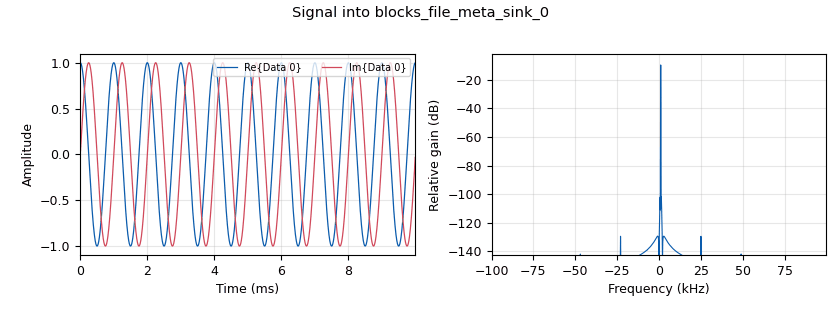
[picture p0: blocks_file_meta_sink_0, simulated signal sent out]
<?xml version='1.0' encoding='utf-8'?>
<?grc format='1' created='3.7.11'?>
<flow_graph>
<block>
<key>options</key>
<param><key>id</key><value>file_metadata_sink</value></param>
<param><key>category</key><value>Custom</value></param>
<param><key>generate_options</key><value>qt_gui</value></param>
</block>
<block>
<key>variable_qtgui_range</key>
<param><key>id</key><value>qt_samp_rate</value></param>
<param><key>value</key><value>samp_rate</value></param>
<param><key>orient</key><value>Qt.Horizontal</value></param>
<param><key>start</key><value>200000</value></param>
<param><key>step</key><value>200000</value></param>
<param><key>stop</key><value>5000000</value></param>
</block>
<block>
<key>variable</key>
<param><key>id</key><value>samp_rate</value></param>
<param><key>value</key><value>200000</value></param>
</block>
<block>
<key>analog_sig_source_x</key>
<param><key>id</key><value>analog_sig_source_x_0</value></param>
<param><key>amp</key><value>1</value></param>
<param><key>freq</key><value>1000</value></param>
<param><key>offset</key><value>0</value></param>
<param><key>type</key><value>complex</value></param>
<param><key>samp_rate</key><value>samp_rate</value></param>
<param><key>waveform</key><value>analog.GR_COS_WAVE</value></param>
</block>
<block>
<key>blocks_file_meta_sink</key>
<param><key>id</key><value>blocks_file_meta_sink_0</value></param>
<param><key>detached</key><value>True</value></param>
<param><key>extra_dict</key><value>""</value></param>
<param><key>file</key><value>C:\Users\Zyglabs\Dropbox\2017_05_Summer_Research\EARS\Refs\GnuRadio\Trials\Trail2_file_metadata_sink.out</value></param>
<param><key>type</key><value>complex</value></param>
<param><key>max_seg_size</key><value>1000000</value></param>
<param><key>rel_rate</key><value>1</value></param>
<param><key>samp_rate</key><value>samp_rate</value></param>
</block>
<block>
<key>blocks_head</key>
<param><key>id</key><value>blocks_head_0</value></param>
<param><key>num_items</key><value>20000000</value></param>
<param><key>type</key><value>complex</value></param>
</block>
<block>
<key>uhd_usrp_source</key>
<param><key>id</key><value>uhd_usrp_source_0</value></param>
<param><key>ant0</key><value></value></param>
<param><key>center_freq0</key><value>98.9e6</value></param>
<param><key>dc_offs_enb0</key><value>""</value></param>
<param><key>iq_imbal_enb0</key><value>""</value></param>
<param><key>norm_gain0</key><value>False</value></param>
<param><key>gain0</key><value>30</value></param>
<param><key>clock_rate</key><value>0.0</value></param>
<param><key>dev_addr</key><value>addr=192.168.11.2</value></param>
<param><key>dev_args</key><value>""</value></param>
<param><key>_enabled</key><value>False</value></param>
<param><key>type</key><value>fc32</value></param>
<param><key>samp_rate</key><value>qt_samp_rate</value></param>
<param><key>hide_cmd_port</key><value>False</value></param>
<param><key>hide_lo_controls</key><value>True</value></param>
<param><key>sync</key><value></value></param>
</block>
<connection><source_block_id>analog_sig_source_x_0</source_block_id><sink_block_id>blocks_head_0</sink_block_id><source_key>0</source_key><sink_key>0</sink_key></connection>
<connection><source_block_id>blocks_head_0</source_block_id><sink_block_id>blocks_file_meta_sink_0</sink_block_id><source_key>0</source_key><sink_key>0</sink_key></connection>
<connection><source_block_id>uhd_usrp_source_0</source_block_id><sink_block_id>blocks_head_0</sink_block_id><source_key>0</source_key><sink_key>0</sink_key></connection>
</flow_graph>
